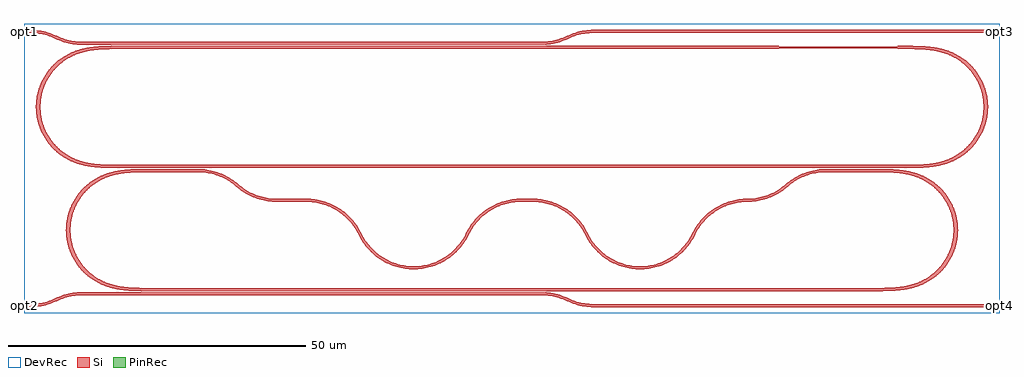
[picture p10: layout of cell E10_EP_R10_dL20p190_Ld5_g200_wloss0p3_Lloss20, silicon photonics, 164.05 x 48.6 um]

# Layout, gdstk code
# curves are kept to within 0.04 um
import gdstk
lib = gdstk.Library(unit=1e-6, precision=1e-09)
def R(c, l, rs):  # rectangles x0, y0, x1, y1
    for r in rs: c.add(gdstk.rectangle(r[:2], r[2:], *l))
def P(c, l, *ps):  # polygons
    for p in ps: c.add(gdstk.Polygon(p, *l))
Si = (1, 0)
PinRec = (1, 10)
DevRec = (68, 0)

c__e10ring2_r10p000_lc129p = lib.new_cell('_E10ring2_R10p000_Lc129p673_w0p500_wm0p750_loss20')
R(c__e10ring2_r10p000_lc129p, Si, [(-64.836,-10.25,64.836,-9.75), (-64.836,9.75,44.836,10.25), (44.836,9.85,64.836,10.15)])
P(c__e10ring2_r10p000_lc129p, Si, [(-65.997,-10.25),(-68.982,-10.193),(-71.126,-9.976),(-72.902,-9.565),(-74.442,-8.954),(-75.975,-8.02),(-76.727,-7.404),(-77.415,-6.719),(-78.492,-5.301),(-79.299,-3.715),(-79.616,-2.797),(-79.843,-1.852),(-79.977,-0.89),(-80.016,0.081),(-79.943,1.212),(-79.778,2.17),(-79.521,3.107),(-79.173,4.014),(-78.74,4.884),(-78.224,5.707),(-77.63,6.476),(-76.964,7.184),(-76.232,7.823),(-75.442,8.388),(-74.59,8.88),(-73.684,9.29),(-72.584,9.659),(-71.616,9.888),(-70.304,10.088),(-68.982,10.193),(-64.836,10.25),(-64.836,9.75),(-69.086,9.678),(-70.651,9.515),(-71.886,9.271),(-73.235,8.841),(-74.373,8.304),(-75.414,7.636),(-76.356,6.84),(-77.283,5.807),(-78.049,4.651),(-78.639,3.395),(-79.039,2.066),(-79.241,0.694),(-79.241,-0.694),(-79.039,-2.066),(-78.639,-3.395),(-77.894,-4.917),(-76.89,-6.283),(-75.659,-7.448),(-74.235,-8.379),(-73.381,-8.781),(-72.492,-9.101),(-71.426,-9.376),(-70.495,-9.537),(-68.299,-9.717),(-64.836,-9.75),(-64.836,-10.25)],
  [(64.836,-10.25),(64.836,-9.75),(69.086,-9.678),(70.495,-9.537),(71.733,-9.307),(72.792,-9.003),(73.67,-8.656),(74.51,-8.226),(75.289,-7.726),(76.13,-7.05),(76.89,-6.283),(77.557,-5.434),(78.196,-4.379),(78.639,-3.395),(78.967,-2.366),(79.196,-1.154),(79.266,-0.077),(79.214,1.001),(79.039,2.066),(78.693,3.25),(78.266,4.242),(77.73,5.179),(76.991,6.167),(76.244,6.946),(75.289,7.726),(74.51,8.227),(73.67,8.657),(72.792,9.004),(71.733,9.308),(70.339,9.559),(69.086,9.678),(64.836,9.75),(64.836,10.25),(68.651,10.209),(70.798,10.026),(71.941,9.82),(72.902,9.565),(74.59,8.88),(75.442,8.388),(76.232,7.823),(76.964,7.184),(77.63,6.476),(78.224,5.707),(78.74,4.884),(79.173,4.014),(79.521,3.107),(79.778,2.17),(79.943,1.212),(80.016,0.081),(79.977,-0.89),(79.843,-1.852),(79.616,-2.797),(79.299,-3.715),(78.894,-4.598),(77.936,-6.098),(76.727,-7.404),(75.305,-8.475),(74.442,-8.954),(73.684,-9.289),(72.102,-9.783),(70.14,-10.105),(68.153,-10.226)])

c__e10ring1_r10p000_lc119p = lib.new_cell('_E10ring1_R10p000_Lc119p578_w0p500_wm0p750_dL20p190_np2')
R(c__e10ring1_r10p000_lc119p, Si, [(-59.789,-10.25,59.789,-9.75), (-39.56,4.75,-34.56,5.25), (1.5,4.75,3.5,5.25), (-59.789,9.75,-57.789,10.25), (-57.789,9.75,-52.789,10.25), (52.789,9.75,57.789,10.25), (57.789,9.75,59.789,10.25)])
P(c__e10ring1_r10p000_lc119p, Si, [(-60.95,-10.25),(-63.934,-10.193),(-66.079,-9.976),(-67.855,-9.565),(-69.395,-8.954),(-70.928,-8.02),(-71.679,-7.404),(-72.368,-6.719),(-72.986,-5.969),(-73.529,-5.163),(-74.311,-3.564),(-74.613,-2.641),(-74.824,-1.693),(-74.942,-0.728),(-74.966,0.243),(-74.895,1.212),(-74.73,2.17),(-74.473,3.107),(-74.126,4.014),(-73.692,4.884),(-73.176,5.707),(-72.582,6.476),(-71.916,7.184),(-71.185,7.823),(-70.395,8.388),(-69.543,8.88),(-68.637,9.29),(-67.696,9.613),(-66.568,9.888),(-65.257,10.088),(-63.934,10.193),(-59.789,10.25),(-59.789,9.75),(-64.038,9.678),(-65.603,9.515),(-66.838,9.271),(-68.187,8.841),(-69.326,8.304),(-70.366,7.636),(-71.309,6.84),(-72.235,5.807),(-73.002,4.651),(-73.591,3.395),(-74.024,1.916),(-74.204,0.54),(-74.181,-0.847),(-73.957,-2.216),(-73.535,-3.538),(-72.765,-5.048),(-71.739,-6.398),(-70.49,-7.543),(-69.187,-8.379),(-68.333,-8.781),(-67.445,-9.101),(-66.378,-9.376),(-65.448,-9.537),(-63.252,-9.717),(-59.789,-9.75),(-59.789,-10.25)],
  [(-46.34,7.312),(-47.759,8.352),(-49.342,9.12),(-51.037,9.591),(-52.789,9.75),(-52.789,10.25),(-51.68,10.19),(-50.584,10.01),(-49.514,9.713),(-48.482,9.301),(-47.187,8.584),(-46.009,7.687)],
  [(-39.56,4.75),(-40.669,4.81),(-41.402,4.917),(-42.482,5.175),(-43.184,5.412),(-44.2,5.86),(-44.848,6.219),(-46.34,7.312),(-46.009,7.687),(-44.59,6.648),(-43.007,5.88),(-41.312,5.409),(-39.56,5.25)],
  [(-16.53,-6.595),(-16.53,-6.095),(-15.166,-5.999),(-13.828,-5.713),(-12.544,-5.242),(-11.338,-4.597),(-10.234,-3.789),(-9.254,-2.835),(-8.417,-1.753),(-7.74,-0.564),(-7.29,-0.78),(-8.001,-2.03),(-8.881,-3.168),(-9.911,-4.171),(-11.071,-5.02),(-12.339,-5.699),(-13.689,-6.193),(-15.096,-6.494)],
  [(46.34,7.313),(46.009,7.688),(47.187,8.584),(48.482,9.301),(49.514,9.713),(50.584,10.01),(51.68,10.19),(52.789,10.25),(52.789,9.75),(51.037,9.591),(49.342,9.12),(47.759,8.352)],
  [(59.789,-10.25),(59.789,-9.75),(64.038,-9.678),(65.448,-9.537),(66.685,-9.307),(67.595,-9.053),(68.478,-8.72),(69.326,-8.304),(70.115,-7.815),(70.967,-7.152),(71.739,-6.398),(72.42,-5.56),(73.076,-4.515),(73.535,-3.538),(73.919,-2.366),(74.129,-1.307),(74.219,-0.077),(74.149,1.155),(73.957,2.217),(73.645,3.25),(73.219,4.242),(72.682,5.179),(71.943,6.167),(71.197,6.946),(70.241,7.726),(69.463,8.227),(68.622,8.657),(67.744,9.004),(66.685,9.308),(65.292,9.559),(64.038,9.678),(59.789,9.75),(59.789,10.25),(63.603,10.209),(65.751,10.026),(66.893,9.82),(67.855,9.565),(69.543,8.88),(70.395,8.388),(71.185,7.823),(71.916,7.184),(72.582,6.476),(73.176,5.707),(73.692,4.884),(74.126,4.014),(74.473,3.107),(74.73,2.17),(74.895,1.212),(74.966,0.243),(74.942,-0.728),(74.824,-1.693),(74.613,-2.641),(74.311,-3.564),(73.92,-4.454),(72.986,-5.969),(71.799,-7.295),(70.395,-8.388),(69.543,-8.879),(68.79,-9.227),(67.055,-9.783),(65.257,-10.087),(63.106,-10.226)],
  [(39.56,4.75),(39.56,5.25),(41.312,5.409),(43.007,5.88),(44.59,6.648),(46.009,7.688),(46.34,7.313),(45.767,6.843),(44.848,6.219),(44.2,5.86),(43.184,5.412),(42.482,5.175),(41.402,4.917),(40.669,4.81)],
  [(-25.77,-0.78),(-26.447,0.408),(-27.284,1.49),(-28.264,2.445),(-29.081,3.065),(-30.264,3.752),(-31.531,4.268),(-33.196,4.654),(-34.56,4.75),(-34.56,5.25),(-33.126,5.149),(-31.72,4.849),(-30.369,4.354),(-28.8,3.479),(-27.408,2.343),(-26.236,0.981),(-25.32,-0.564)],
  [(-7.29,-0.78),(-7.74,-0.564),(-6.824,0.981),(-5.652,2.343),(-4.26,3.479),(-3.017,4.201),(-1.341,4.849),(0.066,5.149),(1.5,5.25),(1.5,4.75),(0.136,4.654),(-1.529,4.268),(-2.796,3.752),(-3.979,3.065),(-5.054,2.219),(-5.776,1.49),(-6.613,0.408)],
  [(30.77,-0.78),(30.32,-0.564),(31.236,0.981),(32.408,2.343),(33.8,3.479),(35.369,4.354),(36.72,4.849),(38.126,5.149),(39.56,5.25),(39.56,4.75),(38.196,4.654),(36.531,4.268),(35.264,3.752),(34.081,3.065),(33.264,2.445),(32.284,1.49),(31.447,0.408)],
  [(21.53,-6.595),(20.096,-6.494),(18.689,-6.193),(17.339,-5.699),(16.071,-5.02),(14.911,-4.171),(13.881,-3.168),(13.001,-2.03),(12.29,-0.78),(12.74,-0.564),(13.417,-1.753),(14.254,-2.835),(15.234,-3.789),(16.338,-4.597),(17.544,-5.242),(18.828,-5.713),(20.166,-5.999),(21.53,-6.095)],
  [(-16.53,-6.595),(-17.964,-6.494),(-19.371,-6.193),(-20.721,-5.699),(-21.989,-5.02),(-23.149,-4.171),(-24.179,-3.168),(-25.059,-2.03),(-25.77,-0.78),(-25.32,-0.564),(-24.643,-1.753),(-23.806,-2.835),(-22.826,-3.789),(-21.722,-4.597),(-20.517,-5.242),(-19.232,-5.713),(-17.894,-5.999),(-16.53,-6.095)],
  [(12.29,-0.78),(11.613,0.408),(10.776,1.49),(10.054,2.219),(8.979,3.065),(7.796,3.752),(6.529,4.268),(4.864,4.654),(3.5,4.75),(3.5,5.25),(4.934,5.149),(6.341,4.849),(8.017,4.201),(9.26,3.479),(10.652,2.343),(11.824,0.981),(12.74,-0.564)],
  [(21.53,-6.595),(21.53,-6.095),(22.894,-5.999),(24.232,-5.713),(25.517,-5.242),(26.722,-4.597),(27.826,-3.789),(28.806,-2.835),(29.643,-1.753),(30.32,-0.564),(30.77,-0.78),(30.059,-2.03),(29.179,-3.168),(28.149,-4.171),(26.989,-5.02),(25.721,-5.699),(24.371,-6.193),(22.964,-6.494)])

e10_ep_r10_dl20p190_ld5_ = lib.new_cell('E10_EP_R10_dL20p190_Ld5_g200_wloss0p3_Lloss20')
R(e10_ep_r10_dl20p190_ld5_, Si, [(-82.017,-12.95,-81.017,-12.45), (13.718,-12.95,81.017,-12.45), (81.017,-12.95,82.017,-12.45), (-72.299,-10.95,-5,-10.45), (-5,-10.95,5,-10.45), (-72.299,31.15,-5,31.65), (-5,31.15,5,31.65), (-82.017,33.15,-81.017,33.65), (13.718,33.15,81.017,33.65), (81.017,33.15,82.017,33.65)])
P(e10_ep_r10_dl20p190_ld5_, Si, [(9.468,32.175),(9.25,32.625),(10.316,33.069),(11.803,33.47),(12.564,33.585),(13.718,33.65),(13.718,33.15),(12.621,33.088),(11.538,32.903),(10.482,32.597)],
  [(5,31.15),(5,31.65),(6.097,31.712),(7.18,31.897),(8.236,32.203),(9.25,32.625),(9.468,32.175),(8.402,31.731),(7.292,31.41),(6.153,31.215)],
  [(-72.299,31.15),(-73.452,31.215),(-74.591,31.41),(-75.7,31.731),(-76.767,32.175),(-76.549,32.625),(-75.534,32.203),(-74.479,31.897),(-73.396,31.712),(-72.299,31.65)],
  [(-76.767,32.175),(-77.781,32.597),(-78.836,32.903),(-79.92,33.088),(-81.017,33.15),(-81.017,33.65),(-79.863,33.585),(-79.102,33.47),(-77.615,33.069),(-76.549,32.625)],
  [(13.718,-12.95),(12.564,-12.885),(11.426,-12.69),(10.316,-12.369),(9.25,-11.925),(9.468,-11.475),(10.482,-11.897),(11.538,-12.203),(12.621,-12.388),(13.718,-12.45)],
  [(9.25,-11.925),(8.236,-11.503),(7.18,-11.197),(6.097,-11.012),(5,-10.95),(5,-10.45),(5.77,-10.479),(6.915,-10.63),(8.402,-11.031),(9.468,-11.475)],
  [(-76.549,-11.925),(-76.767,-11.475),(-75.7,-11.031),(-74.214,-10.63),(-73.452,-10.515),(-72.299,-10.45),(-72.299,-10.95),(-73.396,-11.012),(-74.479,-11.197),(-75.534,-11.503)],
  [(-81.017,-12.95),(-81.017,-12.45),(-79.92,-12.388),(-78.836,-12.203),(-77.781,-11.897),(-76.767,-11.475),(-76.549,-11.925),(-77.615,-12.369),(-78.725,-12.69),(-79.863,-12.885)])
R(e10_ep_r10_dl20p190_ld5_, DevRec, [(-82.017,-13.95,82.017,34.65)])
e10_ep_r10_dl20p190_ld5_.add(gdstk.FlexPath([(82.007,-12.7),(82.027,-12.7)], 0.5, ends="flush", simple_path=True, layer=1, datatype=10))  # PinRec
e10_ep_r10_dl20p190_ld5_.add(gdstk.FlexPath([(82.007,33.4),(82.027,33.4)], 0.5, ends="flush", simple_path=True, layer=1, datatype=10))  # PinRec
e10_ep_r10_dl20p190_ld5_.add(gdstk.FlexPath([(-82.007,-12.7),(-82.027,-12.7)], 0.5, ends="flush", simple_path=True, layer=1, datatype=10))  # PinRec
e10_ep_r10_dl20p190_ld5_.add(gdstk.FlexPath([(-82.007,33.4),(-82.027,33.4)], 0.5, ends="flush", simple_path=True, layer=1, datatype=10))  # PinRec
e10_ep_r10_dl20p190_ld5_.add(gdstk.Reference(c__e10ring2_r10p000_lc129p, (0,20.7)))
e10_ep_r10_dl20p190_ld5_.add(gdstk.Reference(c__e10ring1_r10p000_lc119p, (0,0)))
e10_ep_r10_dl20p190_ld5_.add(gdstk.Label('opt4', (82.017,-12.7), layer=1, texttype=10))
e10_ep_r10_dl20p190_ld5_.add(gdstk.Label('opt3', (82.017,33.4), layer=1, texttype=10))
e10_ep_r10_dl20p190_ld5_.add(gdstk.Label('opt2', (-82.017,-12.7), layer=1, texttype=10))
e10_ep_r10_dl20p190_ld5_.add(gdstk.Label('opt1', (-82.017,33.4), layer=1, texttype=10))

lib.write_gds('E10_EP_R10_dL20p190_Ld5_g200_wloss0p3_Lloss20.gds')
